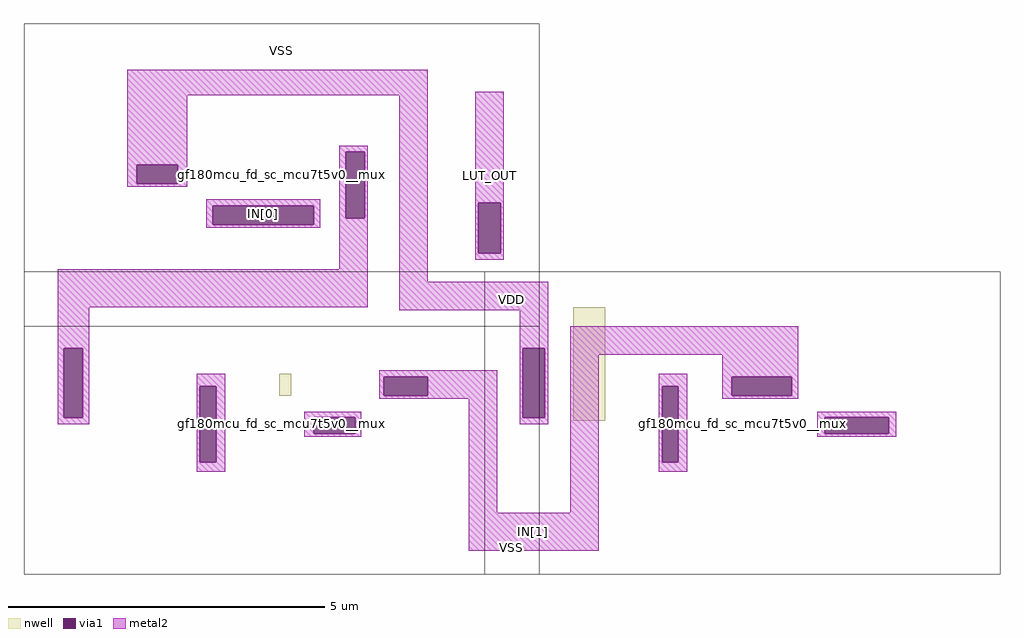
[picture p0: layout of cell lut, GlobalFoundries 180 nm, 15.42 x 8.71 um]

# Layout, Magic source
magic
tech gf180mcuD
magscale 1 10
<< nwell >>
rect 1110 90 1148 160
rect 2040 10 2140 370
<< via1 >>
rect 660 760 790 820
rect 900 630 1220 690
rect 1320 650 1380 860
rect 1740 540 1810 700
rect 430 20 490 240
rect 860 -120 912 120
rect 1440 90 1580 150
rect 1220 -30 1350 22
rect 1880 20 1950 240
rect 2320 -120 2372 120
rect 2540 90 2730 150
rect 2834 -30 3037 22
<< metal2 >>
rect 630 1040 1580 1120
rect 630 820 820 1040
rect 630 760 660 820
rect 790 760 820 820
rect 630 750 820 760
rect 1300 860 1390 880
rect 880 690 1240 710
rect 880 630 900 690
rect 1220 630 1240 690
rect 880 620 1240 630
rect 1300 650 1320 860
rect 1380 650 1390 860
rect 1300 490 1390 650
rect 410 370 1390 490
rect 1490 450 1580 1040
rect 1730 700 1820 1050
rect 1730 540 1740 700
rect 1810 540 1820 700
rect 1730 520 1820 540
rect 410 240 510 370
rect 1490 360 1960 450
rect 410 20 430 240
rect 490 20 510 240
rect 1870 240 1960 360
rect 410 0 510 20
rect 850 120 940 160
rect 850 -120 860 120
rect 912 -120 940 120
rect 1427 150 1800 170
rect 1427 90 1440 150
rect 1580 90 1800 150
rect 1427 80 1800 90
rect 1190 22 1370 40
rect 1190 -30 1220 22
rect 1350 -30 1370 22
rect 1190 -40 1370 -30
rect 850 -150 940 -120
rect 1710 -280 1800 80
rect 1870 20 1880 240
rect 1950 20 1960 240
rect 1870 0 1960 20
rect 2030 220 2750 310
rect 2030 -280 2120 220
rect 2310 120 2400 160
rect 2310 -120 2320 120
rect 2372 -120 2400 120
rect 2510 150 2750 220
rect 2510 90 2540 150
rect 2730 90 2750 150
rect 2510 80 2750 90
rect 2810 22 3060 40
rect 2810 -30 2834 22
rect 3037 -30 3060 22
rect 2810 -40 3060 -30
rect 2310 -150 2400 -120
rect 1710 -400 2120 -280
use gf180mcu_fd_sc_mcu7t5v0__mux2_1  gf180mcu_fd_sc_mcu7t5v0__mux2_1_0 pdks/gf180mcuD/libs.ref/gf180mcu_fd_sc_mcu7t5v0/mag
transform -1 0 1846 0 -1 1180
box -86 -86 1542 870
use gf180mcu_fd_sc_mcu7t5v0__mux2_1  gf180mcu_fd_sc_mcu7t5v0__mux2_1_2
transform 1 0 390 0 1 -389
box -86 -86 1542 870
use gf180mcu_fd_sc_mcu7t5v0__mux2_1  gf180mcu_fd_sc_mcu7t5v0__mux2_1_3
transform 1 0 1846 0 1 -389
box -86 -86 1542 870
<< labels >>
flabel metal2 s 2810 -40 3060 40 0 FreeSans 480 0 0 0 REG[4]
port 2 nsew
flabel metal2 s 2310 -150 2400 160 0 FreeSans 480 0 0 0 REG[3]
port 3 nsew
flabel metal2 s 1190 -40 1370 40 0 FreeSans 480 0 0 0 REG[2]
port 4 nsew
flabel metal2 s 850 -150 940 160 0 FreeSans 480 0 0 0 REG[1]
port 5 nsew
flabel metal2 s 1710 -400 2120 -280 0 FreeSans 480 0 0 0 IN[1]
port 6 nsew
flabel metal2 s 880 620 1240 710 0 FreeSans 480 0 0 0 IN[0]
port 7 nsew
flabel metal2 s 1730 520 1820 1050 0 FreeSans 480 0 0 0 LUT_OUT
port 8 nsew
flabel metal1 s 389 -449 3302 -329 0 FreeSans 800 0 0 0 VSS
port 9 nsew
flabel metal1 s 390 1120 1846 1240 0 FreeSans 800 0 0 0 VSS
flabel metal1 s 390 335 3302 455 0 FreeSans 800 0 0 0 VDD
port 10 nsew
<< end >>
